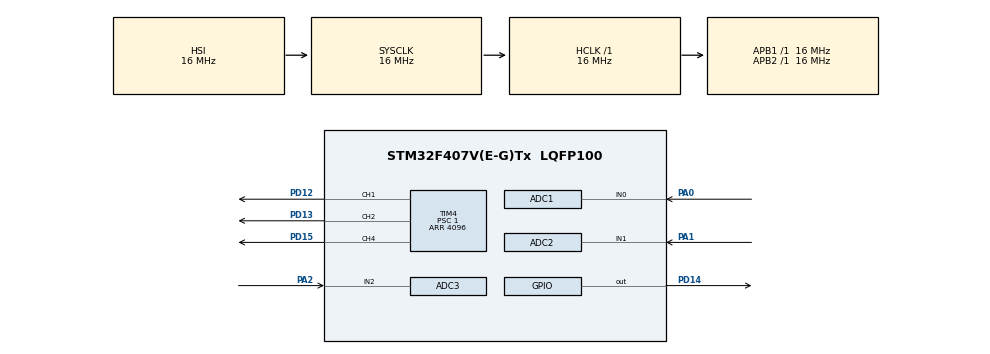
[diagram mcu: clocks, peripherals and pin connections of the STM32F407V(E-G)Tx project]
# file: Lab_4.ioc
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ADC1.Channel-0\#ChannelRegularConversion=ADC_CHANNEL_0
ADC1.ClockPrescaler=ADC_CLOCK_SYNC_PCLK_DIV8
ADC1.NbrOfConversionFlag=1
ADC1.Rank-0\#ChannelRegularConversion=1
ADC1.SamplingTime-0\#ChannelRegularConversion=ADC_SAMPLETIME_480CYCLES
ADC1.master=1
ADC2.Channel-0\#ChannelRegularConversion=ADC_CHANNEL_1
ADC2.ClockPrescaler=ADC_CLOCK_SYNC_PCLK_DIV8
ADC2.NbrOfConversionFlag=1
ADC2.Rank-0\#ChannelRegularConversion=1
ADC2.SamplingTime-0\#ChannelRegularConversion=ADC_SAMPLETIME_480CYCLES
ADC3.Channel-3\#ChannelRegularConversion=ADC_CHANNEL_2
ADC3.ClockPrescaler=ADC_CLOCK_SYNC_PCLK_DIV8
ADC3.NbrOfConversionFlag=1
ADC3.Rank-3\#ChannelRegularConversion=1
ADC3.SamplingTime-3\#ChannelRegularConversion=ADC_SAMPLETIME_480CYCLES
Mcu.Family=STM32F4
Mcu.Name=STM32F407V(E-G)Tx
Mcu.Package=LQFP100
NVIC.ADC_IRQn=true\:0\:0\:false\:false\:true\:true\:true\:true
NVIC.PriorityGroup=NVIC_PRIORITYGROUP_4
NVIC.TIM4_IRQn=true\:0\:0\:false\:false\:true\:true\:true\:true
PA0-WKUP.Signal=ADCx_IN0
PA1.Signal=ADCx_IN1
PA2.Signal=ADCx_IN2
PD12.Signal=S_TIM4_CH1
PD13.Signal=S_TIM4_CH2
PD14.Signal=GPIO_Output
PD15.Signal=S_TIM4_CH4
ProjectManager.HeapSize=0x200
ProjectManager.StackSize=0x400
ProjectManager.TargetToolchain=STM32CubeIDE
RCC.AHBFreq_Value=16000000
RCC.APB1Freq_Value=16000000
RCC.APB2Freq_Value=16000000
RCC.CortexFreq_Value=16000000
RCC.HSE_VALUE=25000000
RCC.HSI_VALUE=16000000
RCC.LSE_VALUE=32768
RCC.SYSCLKFreq_VALUE=16000000
RCC.VCOOutputFreq_Value=192000000
SH.ADCx_IN0.0=ADC1_IN0,IN0
SH.ADCx_IN1.0=ADC2_IN1,IN1
SH.ADCx_IN2.0=ADC3_IN2,IN2
SH.S_TIM4_CH1.0=TIM4_CH1,PWM Generation1 CH1
SH.S_TIM4_CH2.0=TIM4_CH2,PWM Generation2 CH2
SH.S_TIM4_CH4.0=TIM4_CH4,PWM Generation4 CH4
TIM4.AutoReloadPreload=TIM_AUTORELOAD_PRELOAD_ENABLE
TIM4.Channel-PWM\ Generation1\ CH1=TIM_CHANNEL_1
TIM4.Channel-PWM\ Generation2\ CH2=TIM_CHANNEL_2
TIM4.Channel-PWM\ Generation4\ CH4=TIM_CHANNEL_4
TIM4.OCMode_PWM-PWM\ Generation1\ CH1=TIM_OCMODE_PWM1
TIM4.OCMode_PWM-PWM\ Generation2\ CH2=TIM_OCMODE_PWM1
TIM4.OCMode_PWM-PWM\ Generation4\ CH4=TIM_OCMODE_PWM1
TIM4.Period=4096
TIM4.Prescaler=1
VP_TIM4_VS_ClockSourceINT.Mode=Internal
board=custom

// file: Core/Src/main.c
/* USER CODE BEGIN Header */
/**
  ******************************************************************************
  * @file           : main.c
  * @brief          : Main program body
  ******************************************************************************
  * @attention
  *
  * Copyright (c) 2025 STMicroelectronics.
  * All rights reserved.
  *
  * This software is licensed under terms that can be found in the LICENSE file
  * in the root directory of this software component.
  * If no LICENSE file comes with this software, it is provided AS-IS.
  *
  ******************************************************************************
  */
/* USER CODE END Header */
#include "main.h"

ADC_HandleTypeDef hadc1;
ADC_HandleTypeDef hadc2;
ADC_HandleTypeDef hadc3;

TIM_HandleTypeDef htim4;

void SystemClock_Config(void);
static void MX_GPIO_Init(void);
static void MX_ADC3_Init(void);
static void MX_TIM4_Init(void);
static void MX_ADC1_Init(void);
static void MX_ADC2_Init(void);

/* USER CODE BEGIN 0 */
uint32_t map(uint32_t x, uint32_t in_min, uint32_t in_max, uint32_t out_min, uint32_t out_max) {
  return (x - in_min) * (out_max - out_min) / (in_max - in_min) + out_min;
}

void HAL_ADC_ConvCpltCallback(ADC_HandleTypeDef* hadc)
  {
	uint32_t adcValue; // 2^12: 0..4096

	if (hadc->Instance == ADC1)
	{
		adcValue = HAL_ADC_GetValue(&hadc1);
		// conversion for getting max brightness at the right limit of potentiometer with PWM mode 1
		// 				 	  (or min 													  	  mode 2)
//		adcValue = map(adcValue, 0, 4096, 4096, 0);
		TIM4->CCR1 = adcValue;
		HAL_ADC_Start_IT(&hadc1);
	}
	if (hadc->Instance == ADC2)
	{
		adcValue = HAL_ADC_GetValue(&hadc2);
//		adcValue = map(adcValue, 0, 4096, 4096, 0);
		TIM4->CCR2 = adcValue;
		HAL_ADC_Start_IT(&hadc2);
	}
	if (hadc->Instance == ADC3)
	{
		adcValue = HAL_ADC_GetValue(&hadc3);
//		adcValue = map(adcValue, 0, 4096, 4096, 0);
		TIM4->CCR4 = adcValue;
		HAL_ADC_Start_IT(&hadc3);
	}
	if (adcValue > 2048)
	{
		// red lights up at the left half, if PWM mode 1 is set for all channels
		// 						right				   2
		HAL_GPIO_WritePin(GPIOD, GPIO_PIN_14, GPIO_PIN_SET);
	}
	else
	{
		HAL_GPIO_WritePin(GPIOD, GPIO_PIN_14, GPIO_PIN_RESET);
	}
}

/* USER CODE END 0 */

int main(void)
{

  /* MCU Configuration--------------------------------------------------------*/

  /* Reset of all peripherals, Initializes the Flash interface and the Systick. */
  HAL_Init();

  /* Configure the system clock */
  SystemClock_Config();

  /* Initialize all configured peripherals */
  MX_GPIO_Init();
  MX_ADC3_Init();
  MX_TIM4_Init();
  MX_ADC1_Init();
  MX_ADC2_Init();
  /* USER CODE BEGIN 2 */
  HAL_TIM_PWM_Start(&htim4, TIM_CHANNEL_1); // green LED
  TIM4->CCR1 = 1;
  HAL_TIM_PWM_Start(&htim4, TIM_CHANNEL_2); // orange LED
  TIM4->CCR2 = 1;
  HAL_TIM_PWM_Start(&htim4, TIM_CHANNEL_4); // blue LED
  TIM4->CCR4 = 1;

  HAL_GPIO_WritePin(GPIOD, GPIO_PIN_14, GPIO_PIN_RESET);

  /* USER CODE END 2 */

  /* Infinite loop */
  /* USER CODE BEGIN WHILE */
  HAL_ADC_Start_IT(&hadc1);
  HAL_ADC_Start_IT(&hadc2);
  HAL_ADC_Start_IT(&hadc3);
  while (1)
  {
    /* USER CODE END WHILE */

  }
}

void SystemClock_Config(void)
{
  RCC_OscInitTypeDef RCC_OscInitStruct = {0};
  RCC_ClkInitTypeDef RCC_ClkInitStruct = {0};

  /** Configure the main internal regulator output voltage
  */
  __HAL_RCC_PWR_CLK_ENABLE();
  __HAL_PWR_VOLTAGESCALING_CONFIG(PWR_REGULATOR_VOLTAGE_SCALE1);

  /** Initializes the RCC Oscillators according to the specified parameters
  * in the RCC_OscInitTypeDef structure.
  */
  RCC_OscInitStruct.OscillatorType = RCC_OSCILLATORTYPE_HSI;
  RCC_OscInitStruct.HSIState = RCC_HSI_ON;
  RCC_OscInitStruct.HSICalibrationValue = RCC_HSICALIBRATION_DEFAULT;
  RCC_OscInitStruct.PLL.PLLState = RCC_PLL_NONE;
  if (HAL_RCC_OscConfig(&RCC_OscInitStruct) != HAL_OK)
  {
    Error_Handler();
  }

  /** Initializes the CPU, AHB and APB buses clocks
  */
  RCC_ClkInitStruct.ClockType = RCC_CLOCKTYPE_HCLK|RCC_CLOCKTYPE_SYSCLK
                              |RCC_CLOCKTYPE_PCLK1|RCC_CLOCKTYPE_PCLK2;
  RCC_ClkInitStruct.SYSCLKSource = RCC_SYSCLKSOURCE_HSI;
  RCC_ClkInitStruct.AHBCLKDivider = RCC_SYSCLK_DIV1;
  RCC_ClkInitStruct.APB1CLKDivider = RCC_HCLK_DIV1;
  RCC_ClkInitStruct.APB2CLKDivider = RCC_HCLK_DIV1;

  if (HAL_RCC_ClockConfig(&RCC_ClkInitStruct, FLASH_LATENCY_0) != HAL_OK)
  {
    Error_Handler();
  }
}

static void MX_ADC1_Init(void)
{

  ADC_ChannelConfTypeDef sConfig = {0};

  /** Configure the global features of the ADC (Clock, Resolution, Data Alignment and number of conversion)
  */
  hadc1.Instance = ADC1;
  hadc1.Init.ClockPrescaler = ADC_CLOCK_SYNC_PCLK_DIV8;
  hadc1.Init.Resolution = ADC_RESOLUTION_12B;
  hadc1.Init.ScanConvMode = DISABLE;
  hadc1.Init.ContinuousConvMode = DISABLE;
  hadc1.Init.DiscontinuousConvMode = DISABLE;
  hadc1.Init.ExternalTrigConvEdge = ADC_EXTERNALTRIGCONVEDGE_NONE;
  hadc1.Init.ExternalTrigConv = ADC_SOFTWARE_START;
  hadc1.Init.DataAlign = ADC_DATAALIGN_RIGHT;
  hadc1.Init.NbrOfConversion = 1;
  hadc1.Init.DMAContinuousRequests = DISABLE;
  hadc1.Init.EOCSelection = ADC_EOC_SINGLE_CONV;
  if (HAL_ADC_Init(&hadc1) != HAL_OK)
  {
    Error_Handler();
  }

  /** Configure for the selected ADC regular channel its corresponding rank in the sequencer and its sample time.
  */
  sConfig.Channel = ADC_CHANNEL_0;
  sConfig.Rank = 1;
  sConfig.SamplingTime = ADC_SAMPLETIME_480CYCLES;
  if (HAL_ADC_ConfigChannel(&hadc1, &sConfig) != HAL_OK)
  {
    Error_Handler();
  }

}

static void MX_ADC2_Init(void)
{

  ADC_ChannelConfTypeDef sConfig = {0};

  /** Configure the global features of the ADC (Clock, Resolution, Data Alignment and number of conversion)
  */
  hadc2.Instance = ADC2;
  hadc2.Init.ClockPrescaler = ADC_CLOCK_SYNC_PCLK_DIV8;
  hadc2.Init.Resolution = ADC_RESOLUTION_12B;
  hadc2.Init.ScanConvMode = DISABLE;
  hadc2.Init.ContinuousConvMode = DISABLE;
  hadc2.Init.DiscontinuousConvMode = DISABLE;
  hadc2.Init.ExternalTrigConvEdge = ADC_EXTERNALTRIGCONVEDGE_NONE;
  hadc2.Init.ExternalTrigConv = ADC_SOFTWARE_START;
  hadc2.Init.DataAlign = ADC_DATAALIGN_RIGHT;
  hadc2.Init.NbrOfConversion = 1;
  hadc2.Init.DMAContinuousRequests = DISABLE;
  hadc2.Init.EOCSelection = ADC_EOC_SINGLE_CONV;
  if (HAL_ADC_Init(&hadc2) != HAL_OK)
  {
    Error_Handler();
  }

  /** Configure for the selected ADC regular channel its corresponding rank in the sequencer and its sample time.
  */
  sConfig.Channel = ADC_CHANNEL_1;
  sConfig.Rank = 1;
  sConfig.SamplingTime = ADC_SAMPLETIME_480CYCLES;
  if (HAL_ADC_ConfigChannel(&hadc2, &sConfig) != HAL_OK)
  {
    Error_Handler();
  }

}

static void MX_ADC3_Init(void)
{

  ADC_ChannelConfTypeDef sConfig = {0};

  /** Configure the global features of the ADC (Clock, Resolution, Data Alignment and number of conversion)
  */
  hadc3.Instance = ADC3;
  hadc3.Init.ClockPrescaler = ADC_CLOCK_SYNC_PCLK_DIV8;
  hadc3.Init.Resolution = ADC_RESOLUTION_12B;
  hadc3.Init.ScanConvMode = DISABLE;
  hadc3.Init.ContinuousConvMode = DISABLE;
  hadc3.Init.DiscontinuousConvMode = DISABLE;
  hadc3.Init.ExternalTrigConvEdge = ADC_EXTERNALTRIGCONVEDGE_NONE;
  hadc3.Init.ExternalTrigConv = ADC_SOFTWARE_START;
  hadc3.Init.DataAlign = ADC_DATAALIGN_RIGHT;
  hadc3.Init.NbrOfConversion = 1;
  hadc3.Init.DMAContinuousRequests = DISABLE;
  hadc3.Init.EOCSelection = ADC_EOC_SINGLE_CONV;
  if (HAL_ADC_Init(&hadc3) != HAL_OK)
  {
    Error_Handler();
  }

  /** Configure for the selected ADC regular channel its corresponding rank in the sequencer and its sample time.
  */
  sConfig.Channel = ADC_CHANNEL_2;
  sConfig.Rank = 1;
  sConfig.SamplingTime = ADC_SAMPLETIME_480CYCLES;
  if (HAL_ADC_ConfigChannel(&hadc3, &sConfig) != HAL_OK)
  {
    Error_Handler();
  }

}

static void MX_TIM4_Init(void)
{

  TIM_ClockConfigTypeDef sClockSourceConfig = {0};
  TIM_MasterConfigTypeDef sMasterConfig = {0};
  TIM_OC_InitTypeDef sConfigOC = {0};

  htim4.Instance = TIM4;
  htim4.Init.Prescaler = 1;
  htim4.Init.CounterMode = TIM_COUNTERMODE_UP;
  htim4.Init.Period = 4096;
  htim4.Init.ClockDivision = TIM_CLOCKDIVISION_DIV1;
  htim4.Init.AutoReloadPreload = TIM_AUTORELOAD_PRELOAD_ENABLE;
  if (HAL_TIM_Base_Init(&htim4) != HAL_OK)
  {
    Error_Handler();
  }
  sClockSourceConfig.ClockSource = TIM_CLOCKSOURCE_INTERNAL;
  if (HAL_TIM_ConfigClockSource(&htim4, &sClockSourceConfig) != HAL_OK)
  {
    Error_Handler();
  }
  if (HAL_TIM_PWM_Init(&htim4) != HAL_OK)
  {
    Error_Handler();
  }
  sMasterConfig.MasterOutputTrigger = TIM_TRGO_RESET;
  sMasterConfig.MasterSlaveMode = TIM_MASTERSLAVEMODE_DISABLE;
  if (HAL_TIMEx_MasterConfigSynchronization(&htim4, &sMasterConfig) != HAL_OK)
  {
    Error_Handler();
  }
  sConfigOC.OCMode = TIM_OCMODE_PWM1;
  sConfigOC.Pulse = 0;
  sConfigOC.OCPolarity = TIM_OCPOLARITY_HIGH;
  sConfigOC.OCFastMode = TIM_OCFAST_DISABLE;
  if (HAL_TIM_PWM_ConfigChannel(&htim4, &sConfigOC, TIM_CHANNEL_1) != HAL_OK)
  {
    Error_Handler();
  }
  if (HAL_TIM_PWM_ConfigChannel(&htim4, &sConfigOC, TIM_CHANNEL_2) != HAL_OK)
  {
    Error_Handler();
  }
  if (HAL_TIM_PWM_ConfigChannel(&htim4, &sConfigOC, TIM_CHANNEL_4) != HAL_OK)
  {
    Error_Handler();
  }
  HAL_TIM_MspPostInit(&htim4);

}

static void MX_GPIO_Init(void)
{
  GPIO_InitTypeDef GPIO_InitStruct = {0};

  /* GPIO Ports Clock Enable */
  __HAL_RCC_GPIOA_CLK_ENABLE();
  __HAL_RCC_GPIOD_CLK_ENABLE();

  /*Configure GPIO pin Output Level */
  HAL_GPIO_WritePin(GPIOD, GPIO_PIN_14, GPIO_PIN_RESET);

  /*Configure GPIO pin : PD14 */
  GPIO_InitStruct.Pin = GPIO_PIN_14;
  GPIO_InitStruct.Mode = GPIO_MODE_OUTPUT_PP;
  GPIO_InitStruct.Pull = GPIO_NOPULL;
  GPIO_InitStruct.Speed = GPIO_SPEED_FREQ_LOW;
  HAL_GPIO_Init(GPIOD, &GPIO_InitStruct);

}

void Error_Handler(void)
{
  __disable_irq();
  while (1)
  {
  }
}
